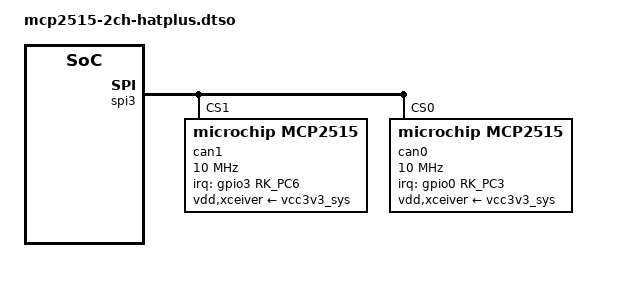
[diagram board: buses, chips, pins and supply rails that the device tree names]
// SPDX-License-Identifier: BSD-3-Clause
/*
 * PRODUCTION CAN overlay — Waveshare 2-CH isolated CAN HAT+ on Radxa CM3 (RK3566).
 * Two MCP2515s on SPI3, giving SocketCAN can0 + can1. This is the production stack
 * per HAT_CONTEXT.md rev 4.2 (vs mcp2515-cm3.dtso, which is the single-channel
 * 12 MHz RS485-CAN HAT used for initial bench validation).
 *
 * Per HAT_CONTEXT rev 4.2:
 *   SPI3: MOSI=hdr19, MISO=hdr21, CLK=hdr23, CS0=hdr24, CS1=hdr36
 *   INT : CAN_INT0 = hdr15 = GPIO0_C3   (can0, CS0)
 *         CAN_INT1 = hdr22 = GPIO3_C6   (can1, CS1)
 *   Crystal: 16 MHz on the 2-CH HAT+ (NOT 12 MHz — that's the RS485-CAN HAT).
 *   Bus map: can0 = HAT_CAN1 <-> Zombie CAN EXT (X1 27/28, SDO/RPM);
 *            can1 = HAT_CAN2 <-> Zombie CAN EXT 2 (X1 43/44, vehicle+charger).
 *            (Confirm the SocketCAN can0/can1 <-> CS0/CS1 ordering on hardware.)
 *
 * HAT+ BACK-PAD STRAPPING (confirmed 2026-08-11, silkscreen + Waveshare wiki). The
 * board SHIPS on SPI1 (pins 35/38/40); re-strap the 7 back pads onto CM3 SPI3:
 *     SDO -> MISO (pin21)     SDI -> MOSI (pin19)     SCLK -> SCK (pin23)
 *     CE_0 -> CE0 (pin24)     CE_1 -> D16 (pin36, ALREADY DEFAULT)
 *     INT0 -> D22 (pin15, ALREADY DEFAULT)            INT_1 -> D25 (pin22)
 * = 5 pads to move (SDO/SDI/SCLK/CE_0/INT_1); CE_1 + INT0 already correct. Do NOT use
 * the CS_1 'CE1'/pin-26 option (pin26 = CM3 SARADC). After re-strap, 35/38/40 free ->
 * DIMMER (pin40) safe. Buzz-verify SCLK->23, MOSI->19, MISO->21, CS0->24, CS1->36.
 *
 * The HAT+ also carries a CAT24C32W ID EEPROM on I2C2 (hdr 27/28) — harmless,
 * Rockchip boot doesn't read RPi HAT EEPROMs; not modelled here.
 *
 * NOTE: Radxa ships rk3568-spi3-m0-cs0-mcp2515.dtbo (osc *8 MHz*, INT gpio4, CS0
 * only). For two channels + 16 MHz + our INT pins it's cleaner to use THIS overlay
 * than to override the shipped one. Confirm the spi3m0 pinctrl group name against
 * the base DTS before enabling.
 */
/dts-v1/;
/plugin/;

#include <dt-bindings/gpio/gpio.h>
#include <dt-bindings/interrupt-controller/irq.h>
#include <dt-bindings/pinctrl/rockchip.h>

/*
 * No separate fixed-clock node. We feed the 16 MHz oscillator to each mcp2515 via a
 * direct `clock-frequency` property instead of a `clocks = <&phandle>` reference.
 * Rationale: when this overlay is pre-merged into the base DTB with `fdtoverlay`
 * (because U-Boot's runtime overlay apply fails on this board), the static merge
 * DROPS a root-targeted fixed-clock fragment but keeps the phandle referencing it —
 * leaving `clocks = <759>` dangling → mcp251x probe returns -ERANGE (freq=0).
 * The mcp251x driver takes its clock as OPTIONAL (devm_clk_get_optional) and falls
 * back to the `clock-frequency` device property, so this is the robust, phandle-free
 * way to specify the 2-CH HAT+'s 16 MHz crystal. (No root `/` fragment at all now,
 * which also avoids clobbering the base board root compatible.)
 */
&spi3 {
	status = "okay";
	/*
	 * Pinctrl group names confirmed against the base DTS
	 * (rk3566-radxa-cm3-rpi-cm4-io.dtb): spi3m0_pins / spi3m0_pins_hs = CLK+MOSI+MISO,
	 * spi3m0_cs0 = hdr24, spi3m0_cs1 = hdr36. Listing BOTH cs0 and cs1 is what claims
	 * the CS1 pad for the second MCP2515. Mirrors the shipped single-ch mcp2515 overlay
	 * (which used only cs0) with cs1 added.
	 */
	pinctrl-names = "default", "high_speed";
	pinctrl-0 = <&spi3m0_cs0 &spi3m0_cs1 &spi3m0_pins>;
	pinctrl-1 = <&spi3m0_cs0 &spi3m0_cs1 &spi3m0_pins_hs>;
	#address-cells = <1>;
	#size-cells = <0>;

	/*
	 * NODE ORDER IS DELIBERATELY CS1-THEN-CS0.
	 * SocketCAN's canN index is assigned in SPI-child probe order = DT node OFFSET
	 * order. `fdtoverlay` (our pre-merge step) REVERSES the order in which it adds
	 * these nodes to the target, so declaring can@1 first here yields can@0 first in
	 * the merged DTB → probes first → gets `can0`. Net result (verified at merge time):
	 *   can0 = spi3.0 = CS0 (hdr24) = Waveshare CAN0 = Zombie CAN1
	 *   can1 = spi3.1 = CS1 (hdr36) = Waveshare CAN1 = Zombie CAN2
	 * If a future fdtoverlay changes its add-order, the merge-time check catches it
	 * (decompile merged dtb, confirm can@0 precedes can@1) — reboot only after that.
	 */
	can1: can@1 {
		compatible = "microchip,mcp2515";
		reg = <1>;                                  /* CS1 = hdr36 */
		spi-max-frequency = <10000000>;
		clock-frequency = <16000000>;               /* 2-CH HAT+ crystal = 16 MHz */

		/* CAN_INT1 = hdr22 = GPIO3_C6, active-low, level-triggered */
		interrupt-parent = <&gpio3>;
		interrupts = <RK_PC6 IRQ_TYPE_LEVEL_LOW>;

		vdd-supply = <&vcc3v3_sys>;
		xceiver-supply = <&vcc3v3_sys>;
	};

	can0: can@0 {
		compatible = "microchip,mcp2515";
		reg = <0>;                                  /* CS0 = hdr24 */
		spi-max-frequency = <10000000>;
		clock-frequency = <16000000>;               /* 2-CH HAT+ crystal = 16 MHz */

		/* CAN_INT0 = hdr15 = GPIO0_C3, active-low, level-triggered */
		interrupt-parent = <&gpio0>;
		interrupts = <RK_PC3 IRQ_TYPE_LEVEL_LOW>;

		vdd-supply = <&vcc3v3_sys>;
		xceiver-supply = <&vcc3v3_sys>;
	};
};

/*
 * Bring up after boot (bitrate = the vehicle bus rate; confirm 500k):
 *   sudo ip link set can0 up type can bitrate 500000
 *   sudo ip link set can1 up type can bitrate 500000
 *   candump -tz can0 can1        # (can-utils)
 * If only one interface appears, buzz the CS1 (hdr36) / INT1 (hdr22) routing and
 * confirm the pinctrl group actually claims CS1.
 */
